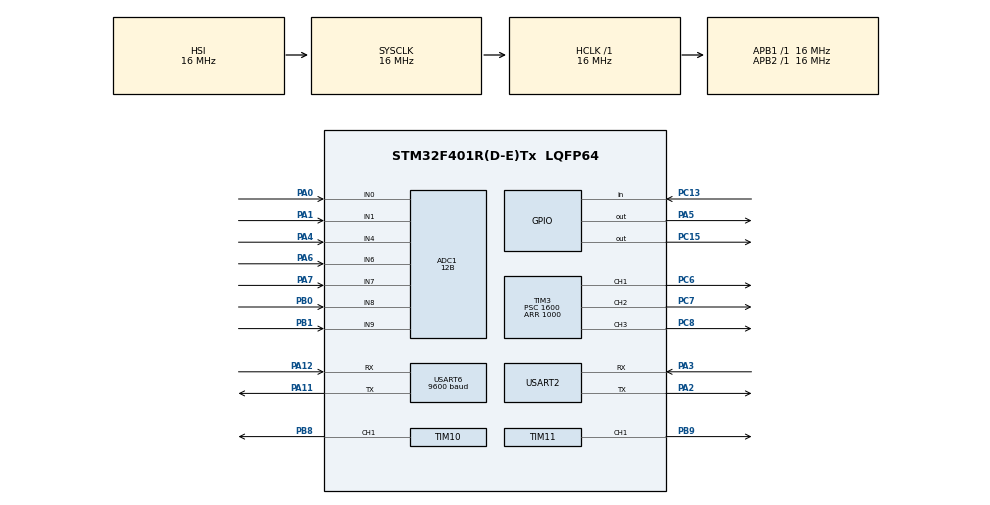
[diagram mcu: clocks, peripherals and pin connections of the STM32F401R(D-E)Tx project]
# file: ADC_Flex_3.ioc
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ADC1.Channel-0\#ChannelRegularConversion=ADC_CHANNEL_0
ADC1.Channel-1\#ChannelRegularConversion=ADC_CHANNEL_1
ADC1.Channel-2\#ChannelRegularConversion=ADC_CHANNEL_4
ADC1.Channel-3\#ChannelRegularConversion=ADC_CHANNEL_6
ADC1.Channel-4\#ChannelRegularConversion=ADC_CHANNEL_7
ADC1.Channel-5\#ChannelRegularConversion=ADC_CHANNEL_8
ADC1.Channel-6\#ChannelRegularConversion=ADC_CHANNEL_9
ADC1.ClockPrescaler=ADC_CLOCK_SYNC_PCLK_DIV2
ADC1.ContinuousConvMode=DISABLE
ADC1.DMAContinuousRequests=ENABLE
ADC1.DataAlign=ADC_DATAALIGN_RIGHT
ADC1.DiscontinuousConvMode=DISABLE
ADC1.EOCSelection=ADC_EOC_SEQ_CONV
ADC1.EnableAnalogWatchDog=false
ADC1.ExternalTrigConv=ADC_EXTERNALTRIGCONV_T2_TRGO
ADC1.ExternalTrigConvEdge=ADC_EXTERNALTRIGCONVEDGE_RISING
ADC1.InjNumberOfConversion=0
ADC1.NbrOfConversion=7
ADC1.NbrOfConversionFlag=1
ADC1.Rank-0\#ChannelRegularConversion=1
ADC1.Rank-1\#ChannelRegularConversion=2
ADC1.Rank-2\#ChannelRegularConversion=3
ADC1.Rank-3\#ChannelRegularConversion=4
ADC1.Rank-4\#ChannelRegularConversion=5
ADC1.Rank-5\#ChannelRegularConversion=6
ADC1.Rank-6\#ChannelRegularConversion=7
ADC1.Resolution=ADC_RESOLUTION_12B
ADC1.SamplingTime-0\#ChannelRegularConversion=ADC_SAMPLETIME_15CYCLES
ADC1.SamplingTime-1\#ChannelRegularConversion=ADC_SAMPLETIME_15CYCLES
ADC1.SamplingTime-2\#ChannelRegularConversion=ADC_SAMPLETIME_15CYCLES
ADC1.SamplingTime-3\#ChannelRegularConversion=ADC_SAMPLETIME_15CYCLES
ADC1.SamplingTime-4\#ChannelRegularConversion=ADC_SAMPLETIME_15CYCLES
ADC1.SamplingTime-5\#ChannelRegularConversion=ADC_SAMPLETIME_15CYCLES
ADC1.SamplingTime-6\#ChannelRegularConversion=ADC_SAMPLETIME_15CYCLES
ADC1.ScanConvMode=ENABLE
ADC1.master=1
Dma.ADC1.0.Direction=DMA_PERIPH_TO_MEMORY
Dma.ADC1.0.FIFOMode=DMA_FIFOMODE_DISABLE
Dma.ADC1.0.Instance=DMA2_Stream0
Dma.ADC1.0.MemDataAlignment=DMA_MDATAALIGN_WORD
Dma.ADC1.0.MemInc=DMA_MINC_ENABLE
Dma.ADC1.0.Mode=DMA_CIRCULAR
Dma.ADC1.0.PeriphDataAlignment=DMA_PDATAALIGN_WORD
Dma.ADC1.0.PeriphInc=DMA_PINC_DISABLE
Dma.ADC1.0.Priority=DMA_PRIORITY_LOW
Dma.Request0=ADC1
Mcu.Family=STM32F4
Mcu.Name=STM32F401R(D-E)Tx
Mcu.Package=LQFP64
NVIC.ADC_IRQn=true\:0\:0\:false\:false\:true\:true
NVIC.DMA2_Stream0_IRQn=true\:0\:0\:false\:false\:true\:false
NVIC.PriorityGroup=NVIC_PRIORITYGROUP_4
NVIC.TIM1_TRG_COM_TIM11_IRQn=true\:0\:0\:false\:false\:true\:true
NVIC.USART2_IRQn=true\:0\:0\:false\:false\:true\:true
NVIC.USART6_IRQn=true\:0\:0\:false\:false\:true\:true
PA0-WKUP.Signal=ADCx_IN0
PA1.Signal=ADCx_IN1
PA11.Mode=Asynchronous
PA11.Signal=USART6_TX
PA12.Mode=Asynchronous
PA12.Signal=USART6_RX
PA2.Mode=Asynchronous
PA2.Signal=USART2_TX
PA3.Mode=Asynchronous
PA3.Signal=USART2_RX
PA4.Signal=ADCx_IN4
PA5.Signal=GPIO_Output
PA6.Signal=ADCx_IN6
PA7.Signal=ADCx_IN7
PB0.Signal=ADCx_IN8
PB1.Signal=ADCx_IN9
PB8.Signal=S_TIM10_CH1
PB9.Signal=S_TIM11_CH1
PC13-ANTI_TAMP.Signal=GPIO_Input
PC15-OSC32_OUT.Signal=GPIO_Output
PC6.Signal=S_TIM3_CH1
PC7.Signal=S_TIM3_CH2
PC8.Signal=S_TIM3_CH3
ProjectManager.HeapSize=0x200
ProjectManager.StackSize=0x400
ProjectManager.TargetToolchain=SW4STM32
RCC.AHBFreq_Value=16000000
RCC.APB1Freq_Value=16000000
RCC.APB2Freq_Value=16000000
RCC.CortexFreq_Value=16000000
RCC.HSE_VALUE=25000000
RCC.HSI_VALUE=16000000
RCC.LSE_VALUE=32768
RCC.SYSCLKFreq_VALUE=16000000
RCC.VCOOutputFreq_Value=192000000
SH.ADCx_IN0.0=ADC1_IN0,IN0
SH.ADCx_IN1.0=ADC1_IN1,IN1
SH.ADCx_IN4.0=ADC1_IN4,IN4
SH.ADCx_IN6.0=ADC1_IN6,IN6
SH.ADCx_IN7.0=ADC1_IN7,IN7
SH.ADCx_IN8.0=ADC1_IN8,IN8
SH.ADCx_IN9.0=ADC1_IN9,IN9
SH.S_TIM10_CH1.0=TIM10_CH1,PWM Generation1 CH1
SH.S_TIM11_CH1.0=TIM11_CH1,PWM Generation1 CH1
SH.S_TIM3_CH1.0=TIM3_CH1,PWM Generation1 CH1
SH.S_TIM3_CH2.0=TIM3_CH2,PWM Generation2 CH2
SH.S_TIM3_CH3.0=TIM3_CH3,PWM Generation3 CH3
TIM10.Channel=TIM_CHANNEL_1
TIM10.Period=999
TIM10.Prescaler=15999
TIM10.Pulse=752
TIM11.Channel=TIM_CHANNEL_1
TIM11.Period=1000
TIM2.Period=249
TIM2.Prescaler=7999
TIM2.TIM_MasterOutputTrigger=TIM_TRGO_UPDATE
TIM3.Channel-PWM\ Generation1\ CH1=TIM_CHANNEL_1
TIM3.Channel-PWM\ Generation2\ CH2=TIM_CHANNEL_2
TIM3.Channel-PWM\ Generation3\ CH3=TIM_CHANNEL_3
TIM3.Period=1000
TIM3.Prescaler=1600
USART2.VirtualMode=VM_ASYNC
USART6.BaudRate=9600
USART6.VirtualMode=VM_ASYNC
VP_TIM10_VS_ClockSourceINT.Mode=Enable_Timer
VP_TIM11_VS_ClockSourceINT.Mode=Enable_Timer
VP_TIM2_VS_ClockSourceINT.Mode=Internal
board=ADC_Flex_3

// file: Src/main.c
/**
  ******************************************************************************
  * @file           : main.c
  * @brief          : Main program body
  ******************************************************************************
  ** This notice applies to any and all portions of this file
  * that are not between comment pairs USER CODE BEGIN and
  * USER CODE END. Other portions of this file, whether
  * inserted by the user or by software development tools
  * are owned by their respective copyright owners.
  *
  * COPYRIGHT(c) 2018 STMicroelectronics
  *
  * Redistribution and use in source and binary forms, with or without modification,
  * are permitted provided that the following conditions are met:
  *   1. Redistributions of source code must retain the above copyright notice,
  *      this list of conditions and the following disclaimer.
  *   2. Redistributions in binary form must reproduce the above copyright notice,
  *      this list of conditions and the following disclaimer in the documentation
  *      and/or other materials provided with the distribution.
  *   3. Neither the name of STMicroelectronics nor the names of its contributors
  *      may be used to endorse or promote products derived from this software
  *      without specific prior written permission.
  *
  * THIS SOFTWARE IS PROVIDED BY THE COPYRIGHT HOLDERS AND CONTRIBUTORS "AS IS"
  * AND ANY EXPRESS OR IMPLIED WARRANTIES, INCLUDING, BUT NOT LIMITED TO, THE
  * IMPLIED WARRANTIES OF MERCHANTABILITY AND FITNESS FOR A PARTICULAR PURPOSE ARE
  * DISCLAIMED. IN NO EVENT SHALL THE COPYRIGHT HOLDER OR CONTRIBUTORS BE LIABLE
  * FOR ANY DIRECT, INDIRECT, INCIDENTAL, SPECIAL, EXEMPLARY, OR CONSEQUENTIAL
  * DAMAGES (INCLUDING, BUT NOT LIMITED TO, PROCUREMENT OF SUBSTITUTE GOODS OR
  * SERVICES; LOSS OF USE, DATA, OR PROFITS; OR BUSINESS INTERRUPTION) HOWEVER
  * CAUSED AND ON ANY THEORY OF LIABILITY, WHETHER IN CONTRACT, STRICT LIABILITY,
  * OR TORT (INCLUDING NEGLIGENCE OR OTHERWISE) ARISING IN ANY WAY OUT OF THE USE
  * OF THIS SOFTWARE, EVEN IF ADVISED OF THE POSSIBILITY OF SUCH DAMAGE.
  *
  ******************************************************************************
  */
#include "main.h"
#include "stm32f4xx_hal.h"

/* USER CODE BEGIN Includes */
#include "string.h"
#include "math.h"
#include "Flexi.h"
#define DEBOUNCE_DELAY (30u)
#define WAIT_TIME (3u)
/* USER CODE END Includes */

ADC_HandleTypeDef hadc1;
DMA_HandleTypeDef hdma_adc1;

TIM_HandleTypeDef htim2;
TIM_HandleTypeDef htim3;
TIM_HandleTypeDef htim10;
TIM_HandleTypeDef htim11;

UART_HandleTypeDef huart2;
UART_HandleTypeDef huart6;

/* USER CODE BEGIN PV */
/* Private variables ---------------------------------------------------------*/
uint32_t adcval[7]; //from 0 to 3 for pressure sensors, from 4 to 6 for accelerometer
float sumRaw[7];
float angles[3];
float accelerations[3];
char msg[20];
uint8_t color[5]={2,2,2,2,2};
float weight=0;

/* USER CODE END PV */

void SystemClock_Config(void);
static void MX_GPIO_Init(void);
static void MX_DMA_Init(void);
static void MX_USART2_UART_Init(void);
static void MX_ADC1_Init(void);
static void MX_TIM2_Init(void);
static void MX_TIM3_Init(void);
static void MX_TIM10_Init(void);
static void MX_USART6_UART_Init(void);
static void MX_TIM11_Init(void);

void HAL_TIM_MspPostInit(TIM_HandleTypeDef *htim);

/* USER CODE BEGIN PFP */
/* Private function prototypes -----------------------------------------------*/
int unbouncingButton();
void ColorLed();
/* USER CODE END PFP */

int main(void)
{

  /* MCU Configuration----------------------------------------------------------*/

  /* Reset of all peripherals, Initializes the Flash interface and the Systick. */
  HAL_Init();

  /* Configure the system clock */
  SystemClock_Config();

  /* Initialize all configured peripherals */
  MX_GPIO_Init();
  MX_DMA_Init();
  MX_USART2_UART_Init();
  MX_ADC1_Init();
  MX_TIM2_Init();
  MX_TIM3_Init();
  MX_TIM10_Init();
  MX_USART6_UART_Init();
  MX_TIM11_Init();
  /* USER CODE BEGIN 2 */

  HAL_TIM_Base_Start(&htim2);				//start timer 2 trigger
  HAL_ADC_Start_DMA(&hadc1,adcval,7);		//start ADC as DMA
  HAL_TIM_PWM_Start(&htim3, TIM_CHANNEL_1); //start PWM ch1 for green led
  HAL_TIM_PWM_Start(&htim3, TIM_CHANNEL_2);	//start PWM ch2 for blue led
  HAL_TIM_PWM_Start(&htim3, TIM_CHANNEL_3);	//start PWM ch3 for red led
  HAL_TIM_PWM_Start(&htim11, TIM_CHANNEL_1);
  GPIO_PinState Button = 0;

  /* USER CODE END 2 */

  /* Infinite loop */
  /* USER CODE BEGIN WHILE */
  //__HAL_TIM_SET_COMPARE(&htim3, TIM_CHANNEL_1, 1000);

  while (1){

  /* USER CODE END WHILE */

  /* USER CODE BEGIN 3 */
	  Button = !unbouncingButton();

	  if (Button == GPIO_PIN_SET) {
		  HAL_GPIO_WritePin(GPIOA, GPIO_PIN_5, !HAL_GPIO_ReadPin(GPIOA, GPIO_PIN_5));
		  weight = sumRaw[0] + sumRaw[1] + sumRaw[2] + sumRaw[3];
		  sprintf(msg,"WEIGHT: %.2f \r\n",weight);
		  HAL_UART_Transmit_IT(&huart2,(uint8_t*)msg,strlen(msg));
	  }

  }
  /* USER CODE END 3 */

}

void SystemClock_Config(void)
{

  RCC_OscInitTypeDef RCC_OscInitStruct;
  RCC_ClkInitTypeDef RCC_ClkInitStruct;

    /**Configure the main internal regulator output voltage
    */
  __HAL_RCC_PWR_CLK_ENABLE();

  __HAL_PWR_VOLTAGESCALING_CONFIG(PWR_REGULATOR_VOLTAGE_SCALE2);

    /**Initializes the CPU, AHB and APB busses clocks
    */
  RCC_OscInitStruct.OscillatorType = RCC_OSCILLATORTYPE_HSI;
  RCC_OscInitStruct.HSIState = RCC_HSI_ON;
  RCC_OscInitStruct.HSICalibrationValue = 16;
  RCC_OscInitStruct.PLL.PLLState = RCC_PLL_NONE;
  if (HAL_RCC_OscConfig(&RCC_OscInitStruct) != HAL_OK)
  {
    _Error_Handler(__FILE__, __LINE__);
  }

    /**Initializes the CPU, AHB and APB busses clocks
    */
  RCC_ClkInitStruct.ClockType = RCC_CLOCKTYPE_HCLK|RCC_CLOCKTYPE_SYSCLK
                              |RCC_CLOCKTYPE_PCLK1|RCC_CLOCKTYPE_PCLK2;
  RCC_ClkInitStruct.SYSCLKSource = RCC_SYSCLKSOURCE_HSI;
  RCC_ClkInitStruct.AHBCLKDivider = RCC_SYSCLK_DIV1;
  RCC_ClkInitStruct.APB1CLKDivider = RCC_HCLK_DIV1;
  RCC_ClkInitStruct.APB2CLKDivider = RCC_HCLK_DIV1;

  if (HAL_RCC_ClockConfig(&RCC_ClkInitStruct, FLASH_LATENCY_0) != HAL_OK)
  {
    _Error_Handler(__FILE__, __LINE__);
  }

    /**Configure the Systick interrupt time
    */
  HAL_SYSTICK_Config(HAL_RCC_GetHCLKFreq()/1000);

    /**Configure the Systick
    */
  HAL_SYSTICK_CLKSourceConfig(SYSTICK_CLKSOURCE_HCLK);

  /* SysTick_IRQn interrupt configuration */
  HAL_NVIC_SetPriority(SysTick_IRQn, 0, 0);
}

/* ADC1 init function */
static void MX_ADC1_Init(void)
{

  ADC_ChannelConfTypeDef sConfig;

    /**Configure the global features of the ADC (Clock, Resolution, Data Alignment and number of conversion)
    */
  hadc1.Instance = ADC1;
  hadc1.Init.ClockPrescaler = ADC_CLOCK_SYNC_PCLK_DIV2;
  hadc1.Init.Resolution = ADC_RESOLUTION_12B;
  hadc1.Init.ScanConvMode = ENABLE;
  hadc1.Init.ContinuousConvMode = DISABLE;
  hadc1.Init.DiscontinuousConvMode = DISABLE;
  hadc1.Init.ExternalTrigConvEdge = ADC_EXTERNALTRIGCONVEDGE_RISING;
  hadc1.Init.ExternalTrigConv = ADC_EXTERNALTRIGCONV_T2_TRGO;
  hadc1.Init.DataAlign = ADC_DATAALIGN_RIGHT;
  hadc1.Init.NbrOfConversion = 7;
  hadc1.Init.DMAContinuousRequests = ENABLE;
  hadc1.Init.EOCSelection = ADC_EOC_SEQ_CONV;
  if (HAL_ADC_Init(&hadc1) != HAL_OK)
  {
    _Error_Handler(__FILE__, __LINE__);
  }

    /**Configure for the selected ADC regular channel its corresponding rank in the sequencer and its sample time.
    */
  sConfig.Channel = ADC_CHANNEL_0;
  sConfig.Rank = 1;
  sConfig.SamplingTime = ADC_SAMPLETIME_15CYCLES;
  if (HAL_ADC_ConfigChannel(&hadc1, &sConfig) != HAL_OK)
  {
    _Error_Handler(__FILE__, __LINE__);
  }

    /**Configure for the selected ADC regular channel its corresponding rank in the sequencer and its sample time.
    */
  sConfig.Channel = ADC_CHANNEL_1;
  sConfig.Rank = 2;
  if (HAL_ADC_ConfigChannel(&hadc1, &sConfig) != HAL_OK)
  {
    _Error_Handler(__FILE__, __LINE__);
  }

    /**Configure for the selected ADC regular channel its corresponding rank in the sequencer and its sample time.
    */
  sConfig.Channel = ADC_CHANNEL_4;
  sConfig.Rank = 3;
  if (HAL_ADC_ConfigChannel(&hadc1, &sConfig) != HAL_OK)
  {
    _Error_Handler(__FILE__, __LINE__);
  }

    /**Configure for the selected ADC regular channel its corresponding rank in the sequencer and its sample time.
    */
  sConfig.Channel = ADC_CHANNEL_6;
  sConfig.Rank = 4;
  if (HAL_ADC_ConfigChannel(&hadc1, &sConfig) != HAL_OK)
  {
    _Error_Handler(__FILE__, __LINE__);
  }

    /**Configure for the selected ADC regular channel its corresponding rank in the sequencer and its sample time.
    */
  sConfig.Channel = ADC_CHANNEL_7;
  sConfig.Rank = 5;
  if (HAL_ADC_ConfigChannel(&hadc1, &sConfig) != HAL_OK)
  {
    _Error_Handler(__FILE__, __LINE__);
  }

    /**Configure for the selected ADC regular channel its corresponding rank in the sequencer and its sample time.
    */
  sConfig.Channel = ADC_CHANNEL_8;
  sConfig.Rank = 6;
  if (HAL_ADC_ConfigChannel(&hadc1, &sConfig) != HAL_OK)
  {
    _Error_Handler(__FILE__, __LINE__);
  }

    /**Configure for the selected ADC regular channel its corresponding rank in the sequencer and its sample time.
    */
  sConfig.Channel = ADC_CHANNEL_9;
  sConfig.Rank = 7;
  if (HAL_ADC_ConfigChannel(&hadc1, &sConfig) != HAL_OK)
  {
    _Error_Handler(__FILE__, __LINE__);
  }

}

/* TIM2 init function */
static void MX_TIM2_Init(void)
{

  TIM_ClockConfigTypeDef sClockSourceConfig;
  TIM_MasterConfigTypeDef sMasterConfig;

  htim2.Instance = TIM2;
  htim2.Init.Prescaler = 7999;
  htim2.Init.CounterMode = TIM_COUNTERMODE_UP;
  htim2.Init.Period = 249;
  htim2.Init.ClockDivision = TIM_CLOCKDIVISION_DIV1;
  if (HAL_TIM_Base_Init(&htim2) != HAL_OK)
  {
    _Error_Handler(__FILE__, __LINE__);
  }

  sClockSourceConfig.ClockSource = TIM_CLOCKSOURCE_INTERNAL;
  if (HAL_TIM_ConfigClockSource(&htim2, &sClockSourceConfig) != HAL_OK)
  {
    _Error_Handler(__FILE__, __LINE__);
  }

  sMasterConfig.MasterOutputTrigger = TIM_TRGO_UPDATE;
  sMasterConfig.MasterSlaveMode = TIM_MASTERSLAVEMODE_DISABLE;
  if (HAL_TIMEx_MasterConfigSynchronization(&htim2, &sMasterConfig) != HAL_OK)
  {
    _Error_Handler(__FILE__, __LINE__);
  }

}

/* TIM3 init function */
static void MX_TIM3_Init(void)
{

  TIM_MasterConfigTypeDef sMasterConfig;
  TIM_OC_InitTypeDef sConfigOC;

  htim3.Instance = TIM3;
  htim3.Init.Prescaler = 1600;
  htim3.Init.CounterMode = TIM_COUNTERMODE_UP;
  htim3.Init.Period = 1000;
  htim3.Init.ClockDivision = TIM_CLOCKDIVISION_DIV1;
  if (HAL_TIM_PWM_Init(&htim3) != HAL_OK)
  {
    _Error_Handler(__FILE__, __LINE__);
  }

  sMasterConfig.MasterOutputTrigger = TIM_TRGO_RESET;
  sMasterConfig.MasterSlaveMode = TIM_MASTERSLAVEMODE_DISABLE;
  if (HAL_TIMEx_MasterConfigSynchronization(&htim3, &sMasterConfig) != HAL_OK)
  {
    _Error_Handler(__FILE__, __LINE__);
  }

  sConfigOC.OCMode = TIM_OCMODE_PWM1;
  sConfigOC.Pulse = 0;
  sConfigOC.OCPolarity = TIM_OCPOLARITY_HIGH;
  sConfigOC.OCFastMode = TIM_OCFAST_DISABLE;
  if (HAL_TIM_PWM_ConfigChannel(&htim3, &sConfigOC, TIM_CHANNEL_1) != HAL_OK)
  {
    _Error_Handler(__FILE__, __LINE__);
  }

  if (HAL_TIM_PWM_ConfigChannel(&htim3, &sConfigOC, TIM_CHANNEL_2) != HAL_OK)
  {
    _Error_Handler(__FILE__, __LINE__);
  }

  if (HAL_TIM_PWM_ConfigChannel(&htim3, &sConfigOC, TIM_CHANNEL_3) != HAL_OK)
  {
    _Error_Handler(__FILE__, __LINE__);
  }

  HAL_TIM_MspPostInit(&htim3);

}

/* TIM10 init function */
static void MX_TIM10_Init(void)
{

  TIM_OC_InitTypeDef sConfigOC;

  htim10.Instance = TIM10;
  htim10.Init.Prescaler = 15999;
  htim10.Init.CounterMode = TIM_COUNTERMODE_UP;
  htim10.Init.Period = 999;
  htim10.Init.ClockDivision = TIM_CLOCKDIVISION_DIV1;
  if (HAL_TIM_Base_Init(&htim10) != HAL_OK)
  {
    _Error_Handler(__FILE__, __LINE__);
  }

  if (HAL_TIM_PWM_Init(&htim10) != HAL_OK)
  {
    _Error_Handler(__FILE__, __LINE__);
  }

  sConfigOC.OCMode = TIM_OCMODE_PWM1;
  sConfigOC.Pulse = 752;
  sConfigOC.OCPolarity = TIM_OCPOLARITY_HIGH;
  sConfigOC.OCFastMode = TIM_OCFAST_DISABLE;
  if (HAL_TIM_PWM_ConfigChannel(&htim10, &sConfigOC, TIM_CHANNEL_1) != HAL_OK)
  {
    _Error_Handler(__FILE__, __LINE__);
  }

  HAL_TIM_MspPostInit(&htim10);

}

/* TIM11 init function */
static void MX_TIM11_Init(void)
{

  TIM_OC_InitTypeDef sConfigOC;

  htim11.Instance = TIM11;
  htim11.Init.Prescaler = 0;
  htim11.Init.CounterMode = TIM_COUNTERMODE_UP;
  htim11.Init.Period = 1000;
  htim11.Init.ClockDivision = TIM_CLOCKDIVISION_DIV1;
  if (HAL_TIM_Base_Init(&htim11) != HAL_OK)
  {
    _Error_Handler(__FILE__, __LINE__);
  }

  if (HAL_TIM_PWM_Init(&htim11) != HAL_OK)
  {
    _Error_Handler(__FILE__, __LINE__);
  }

  sConfigOC.OCMode = TIM_OCMODE_PWM1;
  sConfigOC.Pulse = 0;
  sConfigOC.OCPolarity = TIM_OCPOLARITY_HIGH;
  sConfigOC.OCFastMode = TIM_OCFAST_DISABLE;
  if (HAL_TIM_PWM_ConfigChannel(&htim11, &sConfigOC, TIM_CHANNEL_1) != HAL_OK)
  {
    _Error_Handler(__FILE__, __LINE__);
  }

  HAL_TIM_MspPostInit(&htim11);

}

/* USART2 init function */
static void MX_USART2_UART_Init(void)
{

  huart2.Instance = USART2;
  huart2.Init.BaudRate = 115200;
  huart2.Init.WordLength = UART_WORDLENGTH_8B;
  huart2.Init.StopBits = UART_STOPBITS_1;
  huart2.Init.Parity = UART_PARITY_NONE;
  huart2.Init.Mode = UART_MODE_TX_RX;
  huart2.Init.HwFlowCtl = UART_HWCONTROL_NONE;
  huart2.Init.OverSampling = UART_OVERSAMPLING_16;
  if (HAL_UART_Init(&huart2) != HAL_OK)
  {
    _Error_Handler(__FILE__, __LINE__);
  }

}

/* USART6 init function */
static void MX_USART6_UART_Init(void)
{

  huart6.Instance = USART6;
  huart6.Init.BaudRate = 9600;
  huart6.Init.WordLength = UART_WORDLENGTH_8B;
  huart6.Init.StopBits = UART_STOPBITS_1;
  huart6.Init.Parity = UART_PARITY_NONE;
  huart6.Init.Mode = UART_MODE_TX_RX;
  huart6.Init.HwFlowCtl = UART_HWCONTROL_NONE;
  huart6.Init.OverSampling = UART_OVERSAMPLING_16;
  if (HAL_UART_Init(&huart6) != HAL_OK)
  {
    _Error_Handler(__FILE__, __LINE__);
  }

}

static void MX_DMA_Init(void)
{
  /* DMA controller clock enable */
  __HAL_RCC_DMA2_CLK_ENABLE();

  /* DMA interrupt init */
  /* DMA2_Stream0_IRQn interrupt configuration */
  HAL_NVIC_SetPriority(DMA2_Stream0_IRQn, 0, 0);
  HAL_NVIC_EnableIRQ(DMA2_Stream0_IRQn);

}

/** Configure pins as
        * Analog
        * Input
        * Output
        * EVENT_OUT
        * EXTI
*/
static void MX_GPIO_Init(void)
{

  GPIO_InitTypeDef GPIO_InitStruct;

  /* GPIO Ports Clock Enable */
  __HAL_RCC_GPIOC_CLK_ENABLE();
  __HAL_RCC_GPIOA_CLK_ENABLE();
  __HAL_RCC_GPIOB_CLK_ENABLE();

  /*Configure GPIO pin Output Level */
  HAL_GPIO_WritePin(GPIOC, GPIO_PIN_15, GPIO_PIN_RESET);

  /*Configure GPIO pin Output Level */
  HAL_GPIO_WritePin(GPIOA, GPIO_PIN_5, GPIO_PIN_RESET);

  /*Configure GPIO pin : PC13 */
  GPIO_InitStruct.Pin = GPIO_PIN_13;
  GPIO_InitStruct.Mode = GPIO_MODE_INPUT;
  GPIO_InitStruct.Pull = GPIO_NOPULL;
  HAL_GPIO_Init(GPIOC, &GPIO_InitStruct);

  /*Configure GPIO pin : PC15 */
  GPIO_InitStruct.Pin = GPIO_PIN_15;
  GPIO_InitStruct.Mode = GPIO_MODE_OUTPUT_PP;
  GPIO_InitStruct.Pull = GPIO_NOPULL;
  GPIO_InitStruct.Speed = GPIO_SPEED_FREQ_LOW;
  HAL_GPIO_Init(GPIOC, &GPIO_InitStruct);

  /*Configure GPIO pin : PA5 */
  GPIO_InitStruct.Pin = GPIO_PIN_5;
  GPIO_InitStruct.Mode = GPIO_MODE_OUTPUT_PP;
  GPIO_InitStruct.Pull = GPIO_NOPULL;
  GPIO_InitStruct.Speed = GPIO_SPEED_FREQ_LOW;
  HAL_GPIO_Init(GPIOA, &GPIO_InitStruct);

}

/* USER CODE BEGIN 4 */
void HAL_ADC_ConvCpltCallback(ADC_HandleTypeDef* hadc)
{
  /* Prevent unused argument(s) compilation warning */
   ReadSensor(sumRaw, adcval);
   convertAngleAcc(sumRaw, accelerations, angles,color);
   convertWeight(sumRaw);

   if(checkMovement(accelerations)){
	   CheckWalk(sumRaw, color, &weight);
   }else{
	   CheckCorrectDistribution(sumRaw, &weight, color);
   }

   ColorLed();

  /* NOTE : This function Should not be modified, when the callback is needed,
            the HAL_ADC_ConvCpltCallback could be implemented in the user file
   */
}

void ColorLed() {
	uint16_t c1 = 1000, c2 = 1000, c3 = 1000;

	if(color[0] == 1){
		if(color[1] == 1 && color[4] == 1 ){
			//green
			c1 = 0;
			c3 = 0;
			__HAL_TIM_SET_COMPARE(&htim11, TIM_CHANNEL_1, 0);
		}else{
			//red
			c2 = 0;
			c3 = 0;
			__HAL_TIM_SET_COMPARE(&htim11, TIM_CHANNEL_1, 1000);
		}
	}else{
			if(color[2] == 1){
				//blue
				c1 = 0;
				c2 = 0;
				__HAL_TIM_SET_COMPARE(&htim11, TIM_CHANNEL_1, 0);
			}else if(color[0]==0 && color[1]==0 && color[2]==0){
				//yellow
				c3 = 0;
				__HAL_TIM_SET_COMPARE(&htim11, TIM_CHANNEL_1, 1000);
			}
		}

	__HAL_TIM_SET_COMPARE(&htim3, TIM_CHANNEL_1, c1);
	__HAL_TIM_SET_COMPARE(&htim3, TIM_CHANNEL_2, c2);
	__HAL_TIM_SET_COMPARE(&htim3, TIM_CHANNEL_3, c3);
}

int unbouncingButton() {
	int PrevState = 1;
	int CurrentState = 1;
	int c = 0;

	PrevState = HAL_GPIO_ReadPin(GPIOC, GPIO_PIN_13);

	for (c = 0; c < DEBOUNCE_DELAY; c++) {
		HAL_Delay(WAIT_TIME);
		CurrentState = HAL_GPIO_ReadPin(GPIOC, GPIO_PIN_13);
		if (CurrentState != PrevState) {
			c = 0;
			PrevState = CurrentState;
		}
	}
	return CurrentState;
}

/* USER CODE END 4 */

void _Error_Handler(char *file, int line)
{
  while(1)
  {
  }
}

/************************ (C) COPYRIGHT STMicroelectronics *****END OF FILE****/
